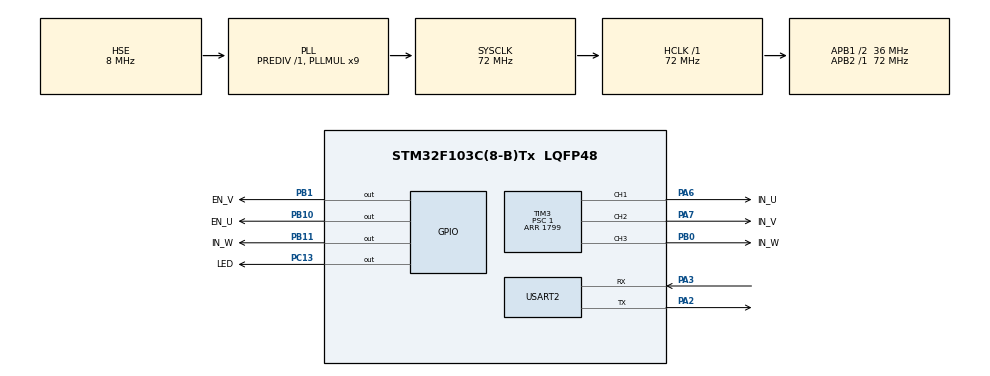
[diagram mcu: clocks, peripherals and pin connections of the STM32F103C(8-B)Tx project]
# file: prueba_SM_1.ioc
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Mcu.Family=STM32F1
Mcu.Name=STM32F103C(8-B)Tx
Mcu.Package=LQFP48
NVIC.PriorityGroup=NVIC_PRIORITYGROUP_4
NVIC.TIM4_IRQn=true\:0\:0\:false\:false\:true\:true\:true\:true
NVIC.USART2_IRQn=true\:0\:0\:false\:false\:true\:true\:true\:true
PA13.Mode=Serial_Wire
PA13.Signal=SYS_JTMS-SWDIO
PA14.Mode=Serial_Wire
PA14.Signal=SYS_JTCK-SWCLK
PA2.Mode=Asynchronous
PA2.Signal=USART2_TX
PA3.Mode=Asynchronous
PA3.Signal=USART2_RX
PA6.GPIO_Label=IN_U
PA6.Signal=S_TIM3_CH1
PA7.GPIO_Label=IN_V
PA7.Signal=S_TIM3_CH2
PB0.GPIO_Label=IN_W
PB0.Signal=S_TIM3_CH3
PB1.GPIO_Label=EN_V
PB1.GPIO_Speed=GPIO_SPEED_FREQ_HIGH
PB1.Signal=GPIO_Output
PB10.GPIO_Label=EN_U
PB10.GPIO_Speed=GPIO_SPEED_FREQ_HIGH
PB10.Signal=GPIO_Output
PB11.GPIO_Label=IN_W
PB11.GPIO_Speed=GPIO_SPEED_FREQ_HIGH
PB11.Signal=GPIO_Output
PC13-TAMPER-RTC.GPIO_Label=LED
PC13-TAMPER-RTC.GPIO_ModeDefaultOutputPP=GPIO_MODE_OUTPUT_OD
PC13-TAMPER-RTC.GPIO_PuPd=GPIO_NOPULL
PC13-TAMPER-RTC.Signal=GPIO_Output
PD0-OSC_IN.Mode=HSE-External-Oscillator
PD0-OSC_IN.Signal=RCC_OSC_IN
PD1-OSC_OUT.Mode=HSE-External-Oscillator
PD1-OSC_OUT.Signal=RCC_OSC_OUT
ProjectManager.HeapSize=0x200
ProjectManager.StackSize=0x400
ProjectManager.TargetToolchain=STM32CubeIDE
RCC.AHBFreq_Value=72000000
RCC.APB1CLKDivider=RCC_HCLK_DIV2
RCC.APB1Freq_Value=36000000
RCC.APB1TimFreq_Value=72000000
RCC.APB2Freq_Value=72000000
RCC.APB2TimFreq_Value=72000000
RCC.HCLKFreq_Value=72000000
RCC.PLLMUL=RCC_PLL_MUL9
RCC.PLLSourceVirtual=RCC_PLLSOURCE_HSE
RCC.SYSCLKFreq_VALUE=72000000
RCC.SYSCLKSource=RCC_SYSCLKSOURCE_PLLCLK
RCC.USBFreq_Value=72000000
SH.S_TIM3_CH1.0=TIM3_CH1,PWM Generation1 CH1
SH.S_TIM3_CH2.0=TIM3_CH2,PWM Generation2 CH2
SH.S_TIM3_CH3.0=TIM3_CH3,PWM Generation3 CH3
TIM3.Channel-PWM\ Generation1\ CH1=TIM_CHANNEL_1
TIM3.Channel-PWM\ Generation2\ CH2=TIM_CHANNEL_2
TIM3.Channel-PWM\ Generation3\ CH3=TIM_CHANNEL_3
TIM3.Period=1799
TIM3.Prescaler=1
TIM4.AutoReloadPreload=TIM_AUTORELOAD_PRELOAD_ENABLE
<<<<<<< Updated upstream
TIM4.Channel-Output\ Compare1\ No\ Output=TIM_CHANNEL_1
TIM4.ClockDivision=TIM_CLOCKDIVISION_DIV1
TIM4.OC1Preload=ENABLE
TIM4.Period=19999
=======
TIM4.Channel-Input_Capture1_from_TI1=TIM_CHANNEL_1
TIM4.Channel-PWM\ Generation2\ CH2=TIM_CHANNEL_2
TIM4.OCFastMode_PWM-PWM\ Generation2\ CH2=TIM_OCFAST_DISABLE
TIM4.Period=9999
>>>>>>> Stashed changes
TIM4.Prescaler=7199
USART2.VirtualMode=VM_ASYNC
VP_TIM4_VS_ClockSourceINT.Mode=Internal
VP_TIM4_VS_no_output1.Mode=Output Compare1 No Output
board=custom

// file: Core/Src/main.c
/* USER CODE BEGIN Header */
/**
  ******************************************************************************
  * @file           : main.c
  * @brief          : Main program body
  ******************************************************************************
  * @attention
  *
  * Copyright (c) 2025 STMicroelectronics.
  * All rights reserved.
  *
  * This software is licensed under terms that can be found in the LICENSE file
  * in the root directory of this software component.
  * If no LICENSE file comes with this software, it is provided AS-IS.
  *
  ******************************************************************************
  */
/* USER CODE END Header */
#include "main.h"

/* USER CODE BEGIN PTD */

TIM_HandleTypeDef htim4;
TIM_HandleTypeDef htim3;
 UART_HandleTypeDef huart2;

/* USER CODE END PTD */

/* USER CODE BEGIN PV */
 typedef enum {
	IDLE,
	PROCESS_COMMAND,
	STARTUP,
	RUNNING,
	ALIGNING,
	READY, // aligned
	FINISH

}state;
 void commutation(uint8_t step,uint16_t pwm);
 void commutator(void);
 void processCommand(char *input);
 void clearRxBuffer(void);

 void blink(void);
 state handleState(void);
 void ledON(void);
 void alignment(void);
 void startup(void);
 void pwm_stop(void);
 void pwm_init(void);
 uint8_t rx_data[1];
 uint8_t rx_buffer[BUFFER_SIZE];
 uint8_t rx_index = 0;
 volatile uint32_t timer4_channel2 = 0;
 volatile int blink_count = 0;
 volatile state state_machine = IDLE;
 volatile uint32_t timerCounter = 0;
 uint32_t eventDuration = 10;
 uint32_t timer;
 volatile bool eventFlag = false;

 bool aligned_flag = false;
 bool startup_flag = false;
 typedef struct {
     char *command;               // Texto del comando
     void (*execute)();
 } Command;

 Command commandTable[] = {
     {"ALIGN", alignment},
 	{"LEDON", ledON},
 	{"STARTUP", startup},
     {NULL, NULL}  // Marca el final de la tabla
 };
 typedef struct{
 	state currentState;
 	bool *eventFlag;
 	uint32_t delay;
 }TimerDependentEvent;

 TimerDependentEvent eventTable[]={
 		{ALIGNING, &aligned_flag, 1},
 		{RUNNING, &eventFlag, 1},
		{STARTUP, &startup_flag, STARTUP_TIME_X},
 		{IDLE, NULL, 0}
 };

#define NUM_TIMER_EVENTS (sizeof(eventTable)/sizeof(eventTable[0]))

/* USER CODE END PV */

void SystemClock_Config(void);
static void MX_GPIO_Init(void);
static void MX_TIM4_Init(void);
static void MX_USART2_UART_Init(void);
static void MX_TIM3_Init(void);

/* USER CODE BEGIN 0 */

void pwm_stop(void) {
	HAL_TIM_PWM_Stop(&htim3, IN_U);
	HAL_TIM_PWM_Stop(&htim3, IN_V);
	HAL_TIM_PWM_Stop(&htim3, IN_W);
}

void pwm_init(void){
	__HAL_TIM_SET_COMPARE(&htim3, IN_U, 0);
	__HAL_TIM_SET_COMPARE(&htim3, IN_V, 0);
	__HAL_TIM_SET_COMPARE(&htim3, IN_W, 0);

	HAL_TIM_PWM_Start(&htim3, IN_U);
	HAL_TIM_PWM_Start(&htim3,IN_V);
	HAL_TIM_PWM_Start(&htim3, IN_W);
	return;
}

void alignment(void){
	aligned_flag = false;
	state_machine = ALIGNING;
	HAL_TIM_Base_Stop_IT(&htim4);
	HAL_TIM_OC_Stop_IT(&htim4, TIM_CHANNEL_1);
	HAL_TIM_Base_Stop(&htim4);

	__HAL_TIM_SET_COUNTER(&htim4, 0);
	__HAL_TIM_SET_COMPARE(&htim4, TIM_CHANNEL_1, ALIGN_TIME);
	pwm_init();

	commutation(POS_UV, DC_ALIGN);
	HAL_TIM_Base_Start_IT(&htim4);
	HAL_TIM_OC_Start_IT(&htim4, TIM_CHANNEL_1);
	while(!aligned_flag);
	state_machine = READY;
	pwm_stop();
}
void startup(void){
	alignment();
	state_machine =  STARTUP;
	bool  localFlag = false;
	uint16_t pwm = DC_STARTUP_INIT;
	uint8_t step = POS_UV;
	uint16_t time = TIME_STARTUP_COMMUTATION_INIT;
	uint16_t duration = 0;
	pwm_init();
	while(!localFlag){
		//__HAL_TIM_SET_COUNTER(&htim4, 0);
		//__HAL_TIM_SET_COMPARE(&htim4, TIM_CHANNEL_1, time);
		HAL_Delay(time);
		commutation(step, pwm);
		//HAL_TIM_Base_Start_IT(&htim4);
		//HAL_TIM_OC_Start_IT(&htim4, TIM_CHANNEL_1);
		//while(!startup_flag);

		step = (step + 1) % NUM_POS;
		(pwm < DC_STARTUP_END) ? pwm += DC_STARTUP_STEP : pwm;
	    if (time > TIME_STARTUP_COMMUTATION_FINAL) {
	        time -= TIME_STARTUP_STEP;
	    } else if (duration < 1000){
	        duration++;
	    }
	    else {
			localFlag = true;
	    }
//		startup_flag = false;

	}
	pwm_stop();
	state_machine = READY;

}

void blink(void){
	eventDuration = 10;
	HAL_TIM_Base_Start_IT(&htim4);
}

void ledON(){

	eventFlag = true;

	__HAL_TIM_SET_COMPARE(&htim4, TIM_CHANNEL_1, 19999);

	HAL_TIM_OC_Start_IT(&htim4, TIM_CHANNEL_1);

}
void processCommand(char *input) {
    for (int i = 0; commandTable[i].command != NULL; i++) {
        if (strcmp(input, commandTable[i].command) == 0) {  // Compara el comando recibido
            eventFlag = true;
        	commandTable[i].execute();  // Ejecuta la función asociada
            clearRxBuffer();  // Limpia el buffer acumulador

            return;
        }
    }
    // Si no se encuentra el comando
    HAL_UART_Transmit(&huart2, (uint8_t *)"Unknown Command\r\n", 17, 3);
    clearRxBuffer();
    state_machine = IDLE;
    return;// Limpia el buffer acumulador

}

void clearRxBuffer(void) {
    memset(rx_buffer, 0, BUFFER_SIZE);  // Establece todos los elementos a 0
    rx_index = 0;                          // Reinicia el índice del buffer
}

void HAL_UART_RxCpltCallback(UART_HandleTypeDef *huart) {
    if (huart->Instance == USART2) {  // Verifica el UART correcto
        if (rx_data[0] == '\r') {  // Detecta el carácter de fin de línea
            rx_buffer[rx_index] = '\0';  // Finaliza la cadena con terminador nulo
            rx_index = 0;  // Reinicia el índice para el próximo mensaje

            // Procesa el mensaje completo
            HAL_UART_Transmit(&huart2, (uint8_t *)"\r\nReceived: ", 12, 3);
            HAL_UART_Transmit(&huart2, rx_buffer	, strlen((char *)rx_buffer), 3);
            HAL_UART_Transmit(&huart2, (uint8_t *)"\r\n", 2, HAL_MAX_DELAY);
            state_machine = PROCESS_COMMAND;
        } else if (rx_data[0] == '\b' || rx_data[0] == '\177') {  // Detecta Backspace
            if (rx_index > 0) {  // Si hay algo en el buffer
                rx_index--;  // Retrocede el índice
                // Simula el borrado en el terminal
                HAL_UART_Transmit(&huart2, (uint8_t *)"\b \b", 3, 3);
            }
        } else {  // Cualquier otro carácter
            rx_buffer[rx_index++] = rx_data[0];  // Almacena el carácter en el buffer
            HAL_UART_Transmit(&huart2, rx_data, 1, HAL_MAX_DELAY);  // Eco del carácter recibido

            // Evita desbordamientos
            if (rx_index >= BUFFER_SIZE) {
                HAL_UART_Transmit(&huart2, (uint8_t *)"\r\nBuffer Overflow\r\n", 19, 3);
                rx_index = 0;  // Reinicia el índice en caso de desbordamiento
            }
        }

        // Reinicia la recepción para el siguiente byte
        HAL_UART_Receive_IT(&huart2, rx_data, 1);
    }
}
state handleState(void){
	switch(state_machine){
	case IDLE:
		if(!__HAL_UART_GET_IT_SOURCE(&huart2, UART_IT_RXNE)){
			__HAL_UART_ENABLE_IT(&huart2, UART_IT_RXNE);
		}
		break;

	case PROCESS_COMMAND:
		__HAL_UART_DISABLE_IT(&huart2, UART_IT_RXNE);
		processCommand((char*) rx_buffer);
		break;

	case STARTUP:
		__HAL_UART_DISABLE_IT(&huart2, UART_IT_RXNE);
		//startup();
		break;
	case ALIGNING:
		__HAL_UART_DISABLE_IT(&huart2, UART_IT_RXNE);
		alignment();
		break;
	case RUNNING:
		__HAL_UART_DISABLE_IT(&huart2, UART_IT_RXNE);
		break;

	case READY:
		if(!__HAL_UART_GET_IT_SOURCE(&huart2, UART_IT_RXNE)){
					__HAL_UART_ENABLE_IT(&huart2, UART_IT_RXNE);
				}
		break;
	case FINISH:
		// Asegúrate de que las interrupciones de UART estén habilitadas al finalizar
		timerCounter = 0; // Reinicia el contador
		__HAL_UART_ENABLE_IT(&huart2, UART_IT_RXNE);
		state_machine = IDLE; // Vuelve al estado IDLE

		break;

}
	return (state_machine);
}
void HAL_TIM_PeriodElapsedCallback(TIM_HandleTypeDef *htim) {
	if (htim->Instance == TIM4) {
		eventFlag = true;
		if (eventDuration > 0) {
			eventDuration--;
			HAL_GPIO_TogglePin(LED_GPIO_Port, LED_Pin);
		} else {
			HAL_GPIO_WritePin(LED_GPIO_Port, LED_Pin, GPIO_PIN_SET);

			HAL_TIM_Base_Stop_IT(&htim4);
			eventFlag = false;
	}
}
}
void commutation(uint8_t step, uint16_t pwm) {
    GPIOB->ODR &= ~(EN_U | EN_V | EN_W);

    switch(step) {
        case POS_UV:
            GPIOB->ODR |= (EN_U | EN_V);  // Activar EN_U y EN_V

            GPIOB->ODR &= ~EN_W;         // Desactivar EN_W
            __HAL_TIM_SET_COMPARE(&htim3, IN_U, pwm);
            __HAL_TIM_SET_COMPARE(&htim3, IN_V, 0);
            HAL_TIM_PWM_Start(&htim3, IN_U);
            HAL_TIM_PWM_Start(&htim3, IN_V);

            break;
        case POS_UW:
            GPIOB->ODR |= (EN_U | EN_W); // Activar EN_U y EN_W

            GPIOB->ODR &= ~EN_V;         // Desactivar EN_V
            __HAL_TIM_SET_COMPARE(&htim3, IN_U, pwm);
            __HAL_TIM_SET_COMPARE(&htim3, IN_W, 0);
            HAL_TIM_PWM_Start(&htim3, IN_U);
            HAL_TIM_PWM_Start(&htim3, IN_W);
            break;
        case POS_VW:
            GPIOB->ODR |= (EN_V | EN_W); // Activar EN_V y EN_W

            GPIOB->ODR &= ~EN_U;         // Desactivar EN_U
            __HAL_TIM_SET_COMPARE(&htim3, IN_V, pwm);
            __HAL_TIM_SET_COMPARE(&htim3, IN_W, 0);
            HAL_TIM_PWM_Start(&htim3, IN_V);
            HAL_TIM_PWM_Start(&htim3, IN_W);
            break;
        case POS_VU:
            GPIOB->ODR |= (EN_U | EN_V); // Activar EN_U y EN_V

            GPIOB->ODR &= ~EN_W;         // Desactivar EN_W
            __HAL_TIM_SET_COMPARE(&htim3, IN_V, pwm);
            __HAL_TIM_SET_COMPARE(&htim3, IN_U, 0);
            HAL_TIM_PWM_Start(&htim3, IN_V);
            HAL_TIM_PWM_Start(&htim3, IN_U);

            break;
        case POS_WU:
            GPIOB->ODR |= (EN_U | EN_W); // Activar EN_U y EN_W

            GPIOB->ODR &= ~EN_V;         // Desactivar EN_V
            __HAL_TIM_SET_COMPARE(&htim3, IN_W, pwm);
            __HAL_TIM_SET_COMPARE(&htim3, IN_U, 0);
            HAL_TIM_PWM_Start(&htim3, IN_W);
            HAL_TIM_PWM_Start(&htim3, IN_U);
            break;
        case POS_WV:
            GPIOB->ODR |= (EN_V | EN_W); // Activar EN_V y EN_W

            GPIOB->ODR &= ~(EN_U | EN_V | EN_W);         // Desactivar EN_U
            __HAL_TIM_SET_COMPARE(&htim3, IN_W, pwm);
            __HAL_TIM_SET_COMPARE(&htim3, IN_V, 0);
            HAL_TIM_PWM_Start(&htim3, IN_W);
            HAL_TIM_PWM_Start(&htim3, IN_V);

            break;
        default:
            break;
    }
}

void HAL_TIM_OC_DelayElapsedCallback(TIM_HandleTypeDef *htim) {
	if (htim->Instance == TIM4 && htim->Channel == HAL_TIM_ACTIVE_CHANNEL_1) {
	    //TIM3->CCER &= ~(TIM_CCER_CC1E | TIM_CCER_CC2E | TIM_CCER_CC3E | TIM_CCER_CC4E);
		__HAL_TIM_DISABLE(&htim4);

		__HAL_TIM_SET_COUNTER(&htim4, 0);
		HAL_TIM_Base_Stop_IT(&htim4);
		HAL_TIM_Base_Stop(&htim4);

		HAL_TIM_OC_Stop_IT(&htim4, TIM_CHANNEL_1);
		for (int i = 0; i < NUM_TIMER_EVENTS; i++) {
			// Detener el temporizador y deshabilitar el contador
			if (eventTable[i].currentState == state_machine) {
				if (eventTable[i].eventFlag != NULL) {
					*(eventTable[i].eventFlag) = true;
					HAL_TIM_Base_Stop_IT(&htim4);
					HAL_TIM_OC_Stop_IT(&htim4, TIM_CHANNEL_1);

				}
				break;

			}

		}
		__HAL_TIM_SET_COUNTER(&htim4, 0);
		HAL_TIM_Base_Start_IT(&htim4);
		HAL_TIM_OC_Start_IT(&htim4, TIM_CHANNEL_1);
		__HAL_TIM_ENABLE(&htim4);

	}
}

/* USER CODE END 0 */

int main(void)
{

  /* MCU Configuration--------------------------------------------------------*/

  /* Reset of all peripherals, Initializes the Flash interface and the Systick. */
  HAL_Init();

  /* Configure the system clock */
  SystemClock_Config();

  /* Initialize all configured peripherals */
  MX_GPIO_Init();
  MX_TIM4_Init();
  MX_USART2_UART_Init();
  MX_TIM3_Init();
  /* USER CODE BEGIN 2 */
  //HAL_TIM_Base_Start_IT(&htim4);
  HAL_GPIO_WritePin(LED_GPIO_Port, LED_Pin, GPIO_PIN_RESET);
  state statetete;
  HAL_UART_Receive_IT(&huart2, rx_data, 1);
  /* USER CODE END 2 */
1
  /* Infinite loop */
  /* USER CODE BEGIN WHILE */
  while (1)
  {
	  statetete = handleState();

    /* USER CODE END WHILE */

  }
}

void SystemClock_Config(void)
{
  RCC_OscInitTypeDef RCC_OscInitStruct = {0};
  RCC_ClkInitTypeDef RCC_ClkInitStruct = {0};

  /** Initializes the RCC Oscillators according to the specified parameters
  * in the RCC_OscInitTypeDef structure.
  */
  RCC_OscInitStruct.OscillatorType = RCC_OSCILLATORTYPE_HSE;
  RCC_OscInitStruct.HSEState = RCC_HSE_ON;
  RCC_OscInitStruct.HSEPredivValue = RCC_HSE_PREDIV_DIV1;
  RCC_OscInitStruct.HSIState = RCC_HSI_ON;
  RCC_OscInitStruct.PLL.PLLState = RCC_PLL_ON;
  RCC_OscInitStruct.PLL.PLLSource = RCC_PLLSOURCE_HSE;
  RCC_OscInitStruct.PLL.PLLMUL = RCC_PLL_MUL9;
  if (HAL_RCC_OscConfig(&RCC_OscInitStruct) != HAL_OK)
  {
    Error_Handler();
  }

  /** Initializes the CPU, AHB and APB buses clocks
  */
  RCC_ClkInitStruct.ClockType = RCC_CLOCKTYPE_HCLK|RCC_CLOCKTYPE_SYSCLK
                              |RCC_CLOCKTYPE_PCLK1|RCC_CLOCKTYPE_PCLK2;
  RCC_ClkInitStruct.SYSCLKSource = RCC_SYSCLKSOURCE_PLLCLK;
  RCC_ClkInitStruct.AHBCLKDivider = RCC_SYSCLK_DIV1;
  RCC_ClkInitStruct.APB1CLKDivider = RCC_HCLK_DIV2;
  RCC_ClkInitStruct.APB2CLKDivider = RCC_HCLK_DIV1;

  if (HAL_RCC_ClockConfig(&RCC_ClkInitStruct, FLASH_LATENCY_2) != HAL_OK)
  {
    Error_Handler();
  }
}

static void MX_TIM3_Init(void)
{

  TIM_MasterConfigTypeDef sMasterConfig = {0};
  TIM_OC_InitTypeDef sConfigOC = {0};

  htim3.Instance = TIM3;
  htim3.Init.Prescaler = 1;
  htim3.Init.CounterMode = TIM_COUNTERMODE_UP;
  htim3.Init.Period = 1799;
  htim3.Init.ClockDivision = TIM_CLOCKDIVISION_DIV1;
  htim3.Init.AutoReloadPreload = TIM_AUTORELOAD_PRELOAD_DISABLE;
  if (HAL_TIM_PWM_Init(&htim3) != HAL_OK)
  {
    Error_Handler();
  }
  sMasterConfig.MasterOutputTrigger = TIM_TRGO_RESET;
  sMasterConfig.MasterSlaveMode = TIM_MASTERSLAVEMODE_DISABLE;
  if (HAL_TIMEx_MasterConfigSynchronization(&htim3, &sMasterConfig) != HAL_OK)
  {
    Error_Handler();
  }
  sConfigOC.OCMode = TIM_OCMODE_PWM1;
  sConfigOC.Pulse = 0;
  sConfigOC.OCPolarity = TIM_OCPOLARITY_HIGH;
  sConfigOC.OCFastMode = TIM_OCFAST_DISABLE;
  if (HAL_TIM_PWM_ConfigChannel(&htim3, &sConfigOC, TIM_CHANNEL_1) != HAL_OK)
  {
    Error_Handler();
  }
  if (HAL_TIM_PWM_ConfigChannel(&htim3, &sConfigOC, TIM_CHANNEL_2) != HAL_OK)
  {
    Error_Handler();
  }
  if (HAL_TIM_PWM_ConfigChannel(&htim3, &sConfigOC, TIM_CHANNEL_3) != HAL_OK)
  {
    Error_Handler();
  }
  HAL_TIM_MspPostInit(&htim3);

}

static void MX_TIM4_Init(void)
{

  TIM_ClockConfigTypeDef sClockSourceConfig = {0};
  TIM_MasterConfigTypeDef sMasterConfig = {0};
  TIM_OC_InitTypeDef sConfigOC = {0};

  /* USER CODE BEGIN TIM4_Init 1 */
  TIM_OnePulse_InitTypeDef sConfig;
  /* USER CODE END TIM4_Init 1 */
  htim4.Instance = TIM4;
  htim4.Init.Prescaler = 7199;
  htim4.Init.CounterMode = TIM_COUNTERMODE_UP;
  htim4.Init.Period = 19999;
  htim4.Init.ClockDivision = TIM_CLOCKDIVISION_DIV1;
  htim4.Init.AutoReloadPreload = TIM_AUTORELOAD_PRELOAD_ENABLE;
  if (HAL_TIM_Base_Init(&htim4) != HAL_OK)
  {
    Error_Handler();
  }
  sClockSourceConfig.ClockSource = TIM_CLOCKSOURCE_INTERNAL;
  if (HAL_TIM_ConfigClockSource(&htim4, &sClockSourceConfig) != HAL_OK)
  {
    Error_Handler();
  }
  if (HAL_TIM_OC_Init(&htim4) != HAL_OK)
  {
    Error_Handler();
  }
  sMasterConfig.MasterOutputTrigger = TIM_TRGO_RESET;
  sMasterConfig.MasterSlaveMode = TIM_MASTERSLAVEMODE_DISABLE;
  if (HAL_TIMEx_MasterConfigSynchronization(&htim4, &sMasterConfig) != HAL_OK)
  {
    Error_Handler();
  }
<<<<<<< Updated upstream
  sConfigOC.OCMode = TIM_OCMODE_TIMING;
=======
  sConfigIC.ICPolarity = TIM_INPUTCHANNELPOLARITY_RISING;
  sConfigIC.ICSelection = TIM_ICSELECTION_DIRECTTI;
  sConfigIC.ICPrescaler = TIM_ICPSC_DIV1;
  sConfigIC.ICFilter = 0;
  if (HAL_TIM_IC_ConfigChannel(&htim4, &sConfigIC, TIM_CHANNEL_1) != HAL_OK)
  {
    Error_Handler();
  }
  sConfigOC.OCMode = TIM_OCMODE_PWM1;
<<<<<<< Updated upstream
<<<<<<< Updated upstream
<<<<<<< Updated upstream
>>>>>>> Stashed changes
=======
>>>>>>> Stashed changes
=======
>>>>>>> Stashed changes
=======
>>>>>>> Stashed changes
  sConfigOC.Pulse = 0;
  sConfigOC.OCPolarity = TIM_OCPOLARITY_HIGH;
  sConfigOC.OCFastMode = TIM_OCFAST_DISABLE;
  if (HAL_TIM_OC_ConfigChannel(&htim4, &sConfigOC, TIM_CHANNEL_1) != HAL_OK)
  {
    Error_Handler();
  }
  __HAL_TIM_ENABLE_OCxPRELOAD(&htim4, TIM_CHANNEL_1);

}

static void MX_USART2_UART_Init(void)
{

  huart2.Instance = USART2;
  huart2.Init.BaudRate = 115200;
  huart2.Init.WordLength = UART_WORDLENGTH_8B;
  huart2.Init.StopBits = UART_STOPBITS_1;
  huart2.Init.Parity = UART_PARITY_NONE;
  huart2.Init.Mode = UART_MODE_TX_RX;
  huart2.Init.HwFlowCtl = UART_HWCONTROL_NONE;
  huart2.Init.OverSampling = UART_OVERSAMPLING_16;
  if (HAL_UART_Init(&huart2) != HAL_OK)
  {
    Error_Handler();
  }

}

static void MX_GPIO_Init(void)
{
  GPIO_InitTypeDef GPIO_InitStruct = {0};

  /* GPIO Ports Clock Enable */
  __HAL_RCC_GPIOC_CLK_ENABLE();
  __HAL_RCC_GPIOD_CLK_ENABLE();
  __HAL_RCC_GPIOA_CLK_ENABLE();
  __HAL_RCC_GPIOB_CLK_ENABLE();

  /*Configure GPIO pin Output Level */
  HAL_GPIO_WritePin(LED_GPIO_Port, LED_Pin, GPIO_PIN_RESET);

  /*Configure GPIO pin Output Level */
  HAL_GPIO_WritePin(GPIOB, EN_V_Pin|EN_U_Pin|IN_WB11_Pin, GPIO_PIN_RESET);

  /*Configure GPIO pin : LED_Pin */
  GPIO_InitStruct.Pin = LED_Pin;
  GPIO_InitStruct.Mode = GPIO_MODE_OUTPUT_OD;
  GPIO_InitStruct.Pull = GPIO_NOPULL;
  GPIO_InitStruct.Speed = GPIO_SPEED_FREQ_LOW;
  HAL_GPIO_Init(LED_GPIO_Port, &GPIO_InitStruct);

  /*Configure GPIO pins : EN_V_Pin EN_U_Pin IN_WB11_Pin */
  GPIO_InitStruct.Pin = EN_V_Pin|EN_U_Pin|IN_WB11_Pin;
  GPIO_InitStruct.Mode = GPIO_MODE_OUTPUT_PP;
  GPIO_InitStruct.Pull = GPIO_NOPULL;
  GPIO_InitStruct.Speed = GPIO_SPEED_FREQ_HIGH;
  HAL_GPIO_Init(GPIOB, &GPIO_InitStruct);

}

void Error_Handler(void)
{
  __disable_irq();
  while (1)
  {
  }
}
